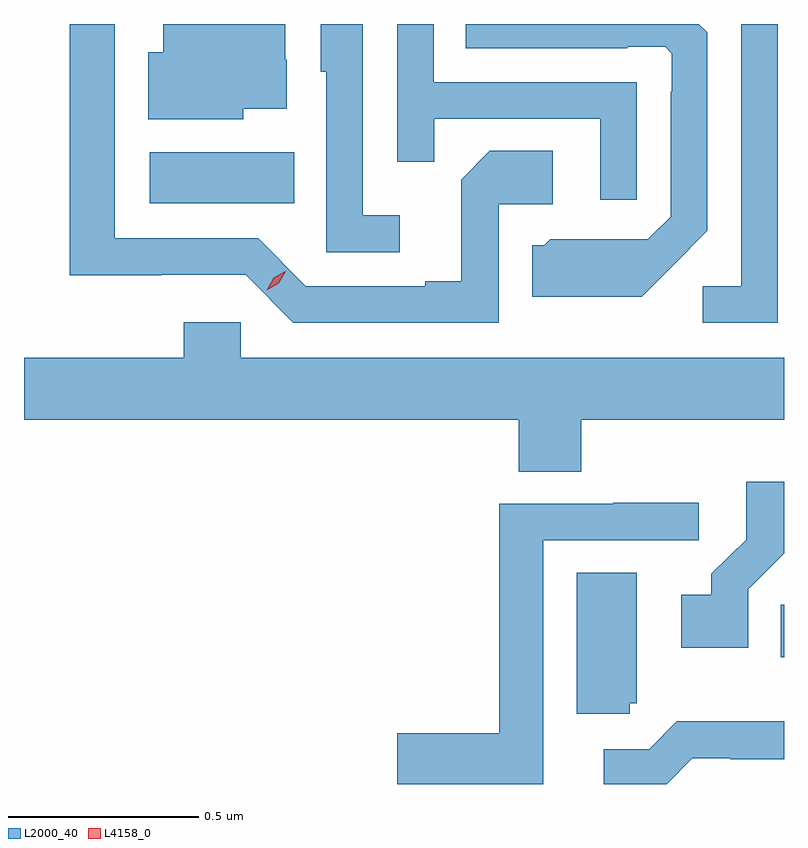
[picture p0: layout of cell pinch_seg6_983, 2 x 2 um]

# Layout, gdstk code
import gdstk
lib = gdstk.Library(unit=1e-6, precision=1e-09)
def R(c, l, rs):  # rectangles x0, y0, x1, y1
    for r in rs: c.add(gdstk.rectangle(r[:2], r[2:], *l))
def P(c, l, *ps):  # polygons
    for p in ps: c.add(gdstk.Polygon(p, *l))
L2000_40 = (2000, 40)
L4158_0 = (4158, 0)

pinch_seg6_983 = lib.new_cell('pinch_seg6_983')
R(pinch_seg6_983, L2000_40, [(347.494,936.056,347.503,936.194), (345.834,937.25,346.214,937.384)])
P(pinch_seg6_983, L2000_40, [(347.487,937.722),(347.391,937.722),(347.391,937.032),(347.289,937.032),(347.289,936.936),(347.487,936.936)],
  [(346.752,937.248),(346.894,937.248),(346.894,937.388),(346.729,937.388),(346.653,937.312),(346.653,937.045),(346.559,937.045),(346.559,937.032),(346.245,937.032),(346.119,937.158),(345.742,937.158),(345.742,937.722),(345.624,937.722),(345.624,937.061),(345.864,937.061),(345.864,937.062),(346.086,937.062),(346.212,936.936),(346.752,936.936)],
  [(347.115,937.569),(346.581,937.569),(346.581,937.722),(346.485,937.722),(346.485,937.36),(346.583,937.36),(346.583,937.473),(347.019,937.473),(347.019,937.26),(347.115,937.26)],
  [(346.08,937.499),(346.195,937.499),(346.195,937.628),(346.191,937.628),(346.191,937.722),(345.869,937.722),(345.869,937.648),(345.83,937.648),(345.83,937.472),(346.08,937.472)],
  [(347.209,937.085),(347.301,937.178),(347.301,937.7),(347.279,937.722),(346.666,937.722),(346.666,937.658),(347.09,937.658),(347.09,937.662),(347.19,937.662),(347.208,937.644),(347.208,937.544),(347.205,937.544),(347.205,937.215),(347.145,937.155),(347.022,937.155),(347.022,937.156),(346.888,937.156),(346.872,937.14),(346.841,937.14),(346.841,937.004),(347.129,937.004)],
  [(346.492,937.219),(346.395,937.219),(346.395,937.722),(346.284,937.722),(346.284,937.596),(346.299,937.596),(346.299,937.122),(346.492,937.122)],
  [(346.97,936.68),(347.503,936.68),(347.503,936.844),(346.074,936.844),(346.074,936.937),(345.923,936.937),(345.923,936.844),(345.503,936.844),(345.503,936.68),(346.805,936.68),(346.805,936.544),(346.97,936.544)],
  [(347.409,936.235),(347.503,936.329),(347.503,936.517),(347.403,936.517),(347.403,936.365),(347.312,936.275),(347.312,936.22),(347.232,936.22),(347.232,936.08),(347.409,936.08)],
  [(346.87,935.838),(346.869,935.838),(346.869,936.363),(347.278,936.363),(347.278,936.462),(347.053,936.462),(347.053,936.459),(346.753,936.459),(346.753,935.855),(346.485,935.855),(346.485,935.722),(346.87,935.722)],
  [(347.097,935.934),(347.116,935.934),(347.116,936.278),(346.958,936.278),(346.958,935.907),(347.097,935.907)],
  [(347.262,935.79),(347.362,935.79),(347.362,935.787),(347.503,935.787),(347.503,935.887),(347.221,935.887),(347.148,935.814),(347.028,935.814),(347.028,935.722),(347.194,935.722)])
P(pinch_seg6_983, L4158_0, [(346.142,937.021),(346.142,937.021),(346.16,937.054),(346.191,937.072),(346.192,937.072),(346.192,937.072),(346.174,937.04),(346.142,937.021)])

lib.write_gds('pinch_seg6_983.gds')
